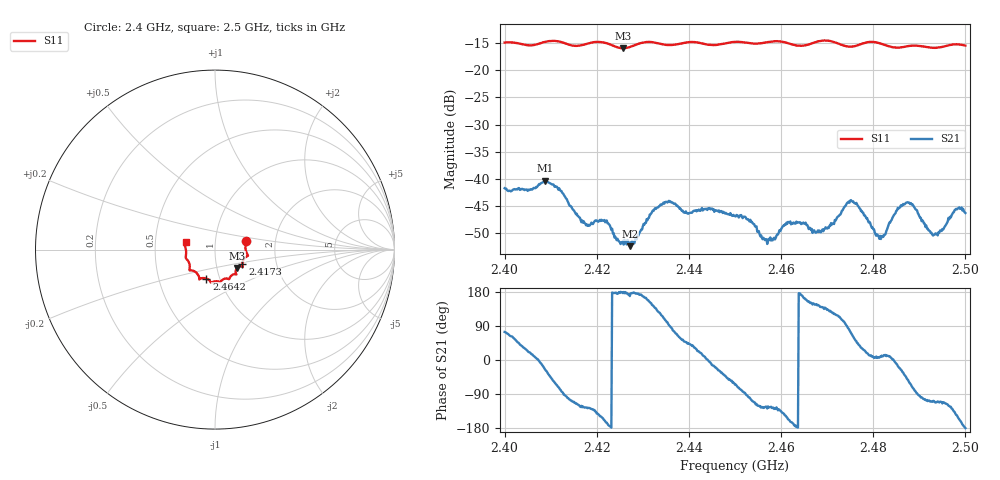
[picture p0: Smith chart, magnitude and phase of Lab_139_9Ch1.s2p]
# Hz S RI R 50
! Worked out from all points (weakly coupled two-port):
!   601 points, 2.4 GHz to 2.5 GHz, reference 50 ohm
!   highest |S21| = -40.33 dB at 2.4088 GHz (marker M1); lowest = -52.4 dB at 2.4272 GHz (marker M2)
!   lowest |S11| = -15.9 dB at 2.4257 GHz (marker M3), VSWR 1.38, Z = 62.4 - j13.1 ohm
!   |S11| at or under -10 dB: start of sweep to end of sweep
!   S12 and S22 are empty: the file has one direction only
!   S11 on the Smith chart (normalised r, x): 2.4 GHz: 1.41, +0.14; 2.4173 GHz: 1.34, -0.23; 2.4642 GHz: 0.86, -0.29; 2.5 GHz: 0.72, +0.06
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2.4e9  0.1734 0.0496  0.00226 0.00789  0 0  0 0
2.408833e9  0.1809 -0.0272  0.00864 -0.00423  0 0  0 0
2.412333e9  0.1782 -0.0372  0.000962 -0.00767  0 0  0 0
2.416667e9  0.153 -0.0748  -0.00205 -0.00342  0 0  0 0
2.417333e9  0.1523 -0.0822  -0.0023 -0.00319  0 0  0 0
2.421833e9  0.1522 -0.0947  -0.00378 -0.00124  0 0  0 0
2.425667e9  0.1226 -0.1023  -0.00268 0.000161  0 0  0 0
2.427167e9  0.1161 -0.1157  -0.00235 0.000471  0 0  0 0
2.433333e9  0.1128 -0.1366  -0.00331 0.00434  0 0  0 0
2.45e9  0.0298 -0.1806  0.0019 -0.00412  0 0  0 0
2.457e9  -0.0137 -0.1812  -0.00155 -0.00198  0 0  0 0
2.4615e9  -0.0275 -0.1754  -0.00368 -0.0016  0 0  0 0
2.464167e9  -0.0482 -0.1612  -0.00396 0.00038  0 0  0 0
2.466667e9  -0.0763 -0.1598  -0.00297 0.00177  0 0  0 0
2.4705e9  -0.0871 -0.1651  -0.00231 0.0029  0 0  0 0
2.475167e9  -0.1082 -0.125  0.00202 0.00605  0 0  0 0
2.481167e9  -0.1423 -0.1083  0.00294 0.000349  0 0  0 0
2.483333e9  -0.1408 -0.0896  0.00371 0.000648  0 0  0 0
2.487333e9  -0.1575 -0.0544  0.00388 -0.00468  0 0  0 0
2.493167e9  -0.1607 -0.0116  -0.000952 -0.0029  0 0  0 0
2.498167e9  -0.1707 0.0321  -0.00436 -0.00292  0 0  0 0
2.5e9  -0.1637 0.0416  -0.00485 -1.63e-05  0 0  0 0
